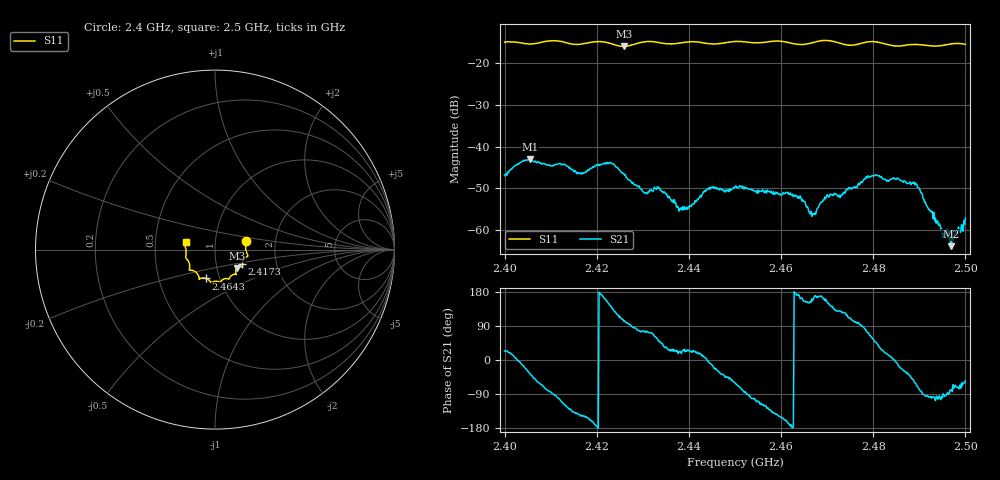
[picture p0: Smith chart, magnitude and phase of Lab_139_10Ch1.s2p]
# Hz S RI R 50
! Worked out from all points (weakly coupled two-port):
!   601 points, 2.4 GHz to 2.5 GHz, reference 50 ohm
!   highest |S21| = -43.03 dB at 2.4055 GHz (marker M1); lowest = -63.9 dB at 2.4968 GHz (marker M2)
!   lowest |S11| = -15.9 dB at 2.4258 GHz (marker M3), VSWR 1.38, Z = 62.3 - j13.2 ohm
!   |S11| at or under -10 dB: start of sweep to end of sweep
!   S12 and S22 are empty: the file has one direction only
!   S11 on the Smith chart (normalised r, x): 2.4 GHz: 1.41, +0.14; 2.4173 GHz: 1.34, -0.23; 2.4643 GHz: 0.86, -0.28; 2.5 GHz: 0.72, +0.06
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2.4e9  0.1732 0.0487  0.00412 0.00181  0 0  0 0
2.4055e9  0.1705 0.00819  0.0057 -0.00415  0 0  0 0
2.413e9  0.1745 -0.0412  -0.00298 -0.00541  0 0  0 0
2.416667e9  0.153 -0.0746  -0.00389 -0.00262  0 0  0 0
2.417333e9  0.1521 -0.0822  -0.00413 -0.0026  0 0  0 0
2.4225e9  0.1489 -0.0946  -0.00546 0.00314  0 0  0 0
2.425833e9  0.1217 -0.1034  -0.00101 0.00464  0 0  0 0
2.4305e9  0.1183 -0.1379  0.000825 0.00265  0 0  0 0
2.433333e9  0.113 -0.1375  0.00193 0.00252  0 0  0 0
2.438333e9  0.081 -0.1562  0.00178 0.000557  0 0  0 0
2.444667e9  0.0583 -0.1613  0.00322 -0.000535  0 0  0 0
2.45e9  0.0289 -0.181  0.00161 -0.00287  0 0  0 0
2.464333e9  -0.0498 -0.1606  -0.00232 0.00071  0 0  0 0
2.466667e9  -0.076 -0.1593  -0.00139 0.000469  0 0  0 0
2.469667e9  -0.0885 -0.166  -0.00226 0.000789  0 0  0 0
2.472833e9  -0.0907 -0.1486  -0.00156 0.0019  0 0  0 0
2.4785e9  -0.1384 -0.115  0.00106 0.00425  0 0  0 0
2.483333e9  -0.1407 -0.0899  0.00376 0.000833  0 0  0 0
2.489333e9  -0.1631 -0.0436  0.00158 -0.00321  0 0  0 0
2.495167e9  -0.1641 0.0116  1.3e-05 -0.00081  0 0  0 0
2.496833e9  -0.1691 0.0261  0.000109 -0.000632  0 0  0 0
2.5e9  -0.1637 0.0429  0.000805 -0.00114  0 0  0 0
